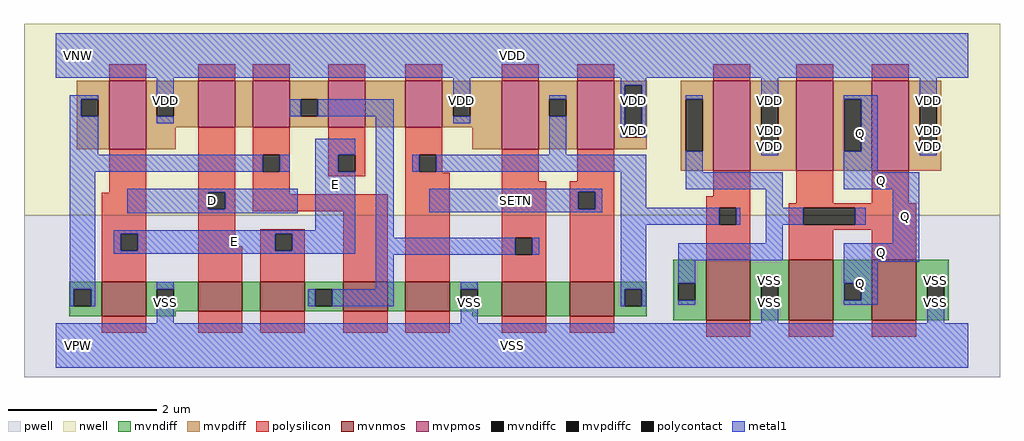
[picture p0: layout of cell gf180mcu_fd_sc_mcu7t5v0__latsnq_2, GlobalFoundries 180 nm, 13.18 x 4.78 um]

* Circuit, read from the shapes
.subckt gf180mcu_fd_sc_mcu7t5v0__latsnq_2 D E SETN Q VDD VNW VPW VSS
XM1 VSS E n1 VPW nfet_06v0 w=0.465u l=0.6u
XM2 n2 D VSS VPW nfet_06v0 w=0.395u l=0.6u
XM3 n3 E n2 VPW nfet_06v0 w=0.395u l=0.6u
XM4 n4 n1 n3 VPW nfet_06v0 w=0.395u l=0.6u
XM5 VSS n5 n4 VPW nfet_06v0 w=0.395u l=0.6u
XM6 n6 n3 VSS VPW nfet_06v0 w=0.465u l=0.6u
XM7 n5 SETN n6 VPW nfet_06v0 w=0.465u l=0.6u
XM8 VSS n5 n7 VPW nfet_06v0 w=0.82u l=0.6u
XM9 Q n7 VSS VPW nfet_06v0 w=0.82u l=0.6u m=2
XM10 VDD E n1 VNW pfet_06v0 w=0.925u l=0.5u
XM11 n8 D VDD VNW pfet_06v0 w=0.63u l=0.5u
XM12 n3 n1 n8 VNW pfet_06v0 w=0.63u l=0.5u
XM13 n9 E n3 VNW pfet_06v0 w=0.63u l=0.5u
XM14 VDD n5 n9 VNW pfet_06v0 w=0.63u l=0.5u
XM15 n5 n3 VDD VNW pfet_06v0 w=0.925u l=0.5u
XM16 VDD SETN n5 VNW pfet_06v0 w=0.925u l=0.5u
XM17 VDD n5 n7 VNW pfet_06v0 w=1.22u l=0.5u
XM18 Q n7 VDD VNW pfet_06v0 w=1.22u l=0.5u m=2
.ends

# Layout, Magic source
magic
tech gf180mcuD
magscale 1 10
<< nwell >>
rect -86 352 2550 870
<< pwell >>
rect -86 -86 2550 352
<< mvnmos >>
rect 124 79 244 172
rect 384 93 504 172
rect 552 93 672 172
rect 776 93 896 172
rect 944 93 1064 172
rect 1204 79 1324 172
rect 1388 79 1508 172
rect 1756 68 1876 232
rect 1980 68 2100 232
rect 2204 68 2324 232
<< mvpmos >>
rect 144 531 244 716
rect 384 590 484 716
rect 532 590 632 716
rect 736 590 836 716
rect 944 590 1044 716
rect 1204 531 1304 716
rect 1408 531 1508 716
rect 1776 472 1876 716
rect 2000 472 2100 716
rect 2204 472 2304 716
<< mvndiff >>
rect 36 152 124 172
rect 36 106 49 152
rect 95 106 124 152
rect 36 79 124 106
rect 244 152 384 172
rect 244 106 273 152
rect 319 106 384 152
rect 244 93 384 106
rect 504 93 552 172
rect 672 152 776 172
rect 672 106 701 152
rect 747 106 776 152
rect 672 93 776 106
rect 896 93 944 172
rect 1064 152 1204 172
rect 1064 106 1093 152
rect 1139 106 1204 152
rect 1064 93 1204 106
rect 244 79 324 93
rect 1124 79 1204 93
rect 1324 79 1388 172
rect 1508 152 1596 172
rect 1508 106 1537 152
rect 1583 106 1596 152
rect 1508 79 1596 106
rect 1668 168 1756 232
rect 1668 122 1681 168
rect 1727 122 1756 168
rect 1668 68 1756 122
rect 1876 168 1980 232
rect 1876 122 1905 168
rect 1951 122 1980 168
rect 1876 68 1980 122
rect 2100 168 2204 232
rect 2100 122 2129 168
rect 2175 122 2204 168
rect 2100 68 2204 122
rect 2324 168 2412 232
rect 2324 122 2353 168
rect 2399 122 2412 168
rect 2324 68 2412 122
<< mvpdiff >>
rect 56 665 144 716
rect 56 619 69 665
rect 115 619 144 665
rect 56 531 144 619
rect 244 665 384 716
rect 244 619 273 665
rect 319 619 384 665
rect 244 590 384 619
rect 484 590 532 716
rect 632 665 736 716
rect 632 619 661 665
rect 707 619 736 665
rect 632 590 736 619
rect 836 590 944 716
rect 1044 665 1204 716
rect 1044 619 1073 665
rect 1119 619 1204 665
rect 1044 590 1204 619
rect 244 531 324 590
rect 1124 531 1204 590
rect 1304 665 1408 716
rect 1304 619 1333 665
rect 1379 619 1408 665
rect 1304 531 1408 619
rect 1508 703 1596 716
rect 1508 563 1537 703
rect 1583 563 1596 703
rect 1508 531 1596 563
rect 1688 665 1776 716
rect 1688 525 1701 665
rect 1747 525 1776 665
rect 1688 472 1776 525
rect 1876 665 2000 716
rect 1876 525 1905 665
rect 1951 525 2000 665
rect 1876 472 2000 525
rect 2100 665 2204 716
rect 2100 525 2129 665
rect 2175 525 2204 665
rect 2100 472 2204 525
rect 2304 665 2392 716
rect 2304 525 2333 665
rect 2379 525 2392 665
rect 2304 472 2392 525
<< mvndiffc >>
rect 49 106 95 152
rect 273 106 319 152
rect 701 106 747 152
rect 1093 106 1139 152
rect 1537 106 1583 152
rect 1681 122 1727 168
rect 1905 122 1951 168
rect 2129 122 2175 168
rect 2353 122 2399 168
<< mvpdiffc >>
rect 69 619 115 665
rect 273 619 319 665
rect 661 619 707 665
rect 1073 619 1119 665
rect 1333 619 1379 665
rect 1537 563 1583 703
rect 1701 525 1747 665
rect 1905 525 1951 665
rect 2129 525 2175 665
rect 2333 525 2379 665
<< polysilicon >>
rect 144 716 244 760
rect 384 716 484 760
rect 532 716 632 760
rect 736 716 836 760
rect 944 716 1044 760
rect 1204 716 1304 760
rect 1408 716 1508 760
rect 1776 716 1876 760
rect 2000 716 2100 760
rect 2204 716 2304 760
rect 144 413 244 531
rect 124 302 244 413
rect 124 256 175 302
rect 221 256 244 302
rect 124 172 244 256
rect 384 414 484 590
rect 384 368 411 414
rect 457 368 484 414
rect 384 268 484 368
rect 532 516 632 590
rect 532 470 559 516
rect 605 470 632 516
rect 532 409 632 470
rect 736 516 836 590
rect 736 470 763 516
rect 809 470 836 516
rect 736 457 836 470
rect 944 516 1044 590
rect 944 470 981 516
rect 1027 470 1044 516
rect 944 467 1044 470
rect 532 363 896 409
rect 552 302 672 315
rect 384 172 504 268
rect 552 256 593 302
rect 639 256 672 302
rect 552 172 672 256
rect 776 172 896 363
rect 944 172 1064 467
rect 1204 444 1304 531
rect 1408 444 1508 531
rect 1204 291 1324 444
rect 1204 245 1241 291
rect 1287 245 1324 291
rect 1204 172 1324 245
rect 1388 415 1508 444
rect 1388 369 1411 415
rect 1457 369 1508 415
rect 1776 404 1876 472
rect 1388 172 1508 369
rect 1756 372 1876 404
rect 2000 385 2100 472
rect 2204 385 2304 472
rect 1756 326 1792 372
rect 1838 326 1876 372
rect 1756 232 1876 326
rect 1980 372 2324 385
rect 1980 326 2019 372
rect 2159 326 2324 372
rect 1980 313 2324 326
rect 1980 232 2100 313
rect 2204 232 2324 313
rect 124 35 244 79
rect 384 35 504 93
rect 552 35 672 93
rect 776 35 896 93
rect 944 35 1064 93
rect 1204 35 1324 79
rect 1388 35 1508 79
rect 1756 24 1876 68
rect 1980 24 2100 68
rect 2204 24 2324 68
<< polycontact >>
rect 175 256 221 302
rect 411 368 457 414
rect 559 470 605 516
rect 763 470 809 516
rect 981 470 1027 516
rect 593 256 639 302
rect 1241 245 1287 291
rect 1411 369 1457 415
rect 1792 326 1838 372
rect 2019 326 2159 372
<< metal1 >>
rect 0 724 2464 844
rect 38 665 115 676
rect 38 619 69 665
rect 38 516 115 619
rect 273 665 319 724
rect 1073 665 1119 724
rect 1526 703 1594 724
rect 632 619 661 665
rect 707 619 912 665
rect 273 600 319 619
rect 700 516 809 559
rect 38 470 559 516
rect 605 470 632 516
rect 700 470 763 516
rect 38 152 106 470
rect 193 414 654 424
rect 193 368 411 414
rect 457 368 654 414
rect 193 358 654 368
rect 700 312 809 470
rect 156 302 809 312
rect 156 256 175 302
rect 221 256 593 302
rect 639 256 809 302
rect 156 248 809 256
rect 864 291 912 619
rect 1073 600 1119 619
rect 1333 665 1379 676
rect 1333 516 1379 619
rect 1526 563 1537 703
rect 1583 563 1594 703
rect 1701 665 1747 676
rect 962 470 981 516
rect 1027 470 1594 516
rect 1008 415 1476 424
rect 1008 369 1411 415
rect 1457 369 1476 415
rect 1008 360 1476 369
rect 1526 372 1594 470
rect 1701 468 1747 525
rect 1905 665 1951 724
rect 1905 514 1951 525
rect 2128 665 2220 676
rect 2128 525 2129 665
rect 2175 525 2220 665
rect 2128 468 2220 525
rect 2333 665 2379 724
rect 2333 514 2379 525
rect 1701 422 1963 468
rect 2128 422 2332 468
rect 1917 372 1963 422
rect 1526 326 1792 372
rect 1838 326 1849 372
rect 1917 326 2019 372
rect 2159 326 2187 372
rect 864 245 1241 291
rect 1287 245 1306 291
rect 38 106 49 152
rect 95 106 106 152
rect 273 152 319 172
rect 864 152 912 245
rect 682 106 701 152
rect 747 106 912 152
rect 1093 152 1139 172
rect 1526 152 1594 326
rect 1917 276 1963 326
rect 2260 276 2332 422
rect 1526 106 1537 152
rect 1583 106 1594 152
rect 1681 230 1963 276
rect 1681 168 1727 230
rect 2128 226 2332 276
rect 1681 111 1727 122
rect 1905 168 1951 179
rect 273 60 319 106
rect 1093 60 1139 106
rect 1905 60 1951 122
rect 2128 168 2220 226
rect 2128 122 2129 168
rect 2175 122 2220 168
rect 2128 111 2220 122
rect 2353 168 2399 179
rect 2353 60 2399 122
rect 0 -60 2464 60
<< labels >>
flabel metal1 s 2128 468 2220 676 0 FreeSans 400 0 0 0 Q
port 4 nsew default output
flabel metal1 s 2353 172 2399 179 0 FreeSans 400 0 0 0 VSS
port 8 nsew ground bidirectional abutment
flabel metal1 s 1008 360 1476 424 0 FreeSans 400 0 0 0 SETN
port 3 nsew default input
flabel metal1 s 0 724 2464 844 0 FreeSans 400 0 0 0 VDD
port 5 nsew power bidirectional abutment
flabel metal1 s 193 358 654 424 0 FreeSans 400 0 0 0 D
port 1 nsew default input
flabel metal1 s 700 312 809 559 0 FreeSans 400 0 0 0 E
port 2 nsew clock input
flabel nwell s 10 734 110 834 0 FreeSans 400 0 0 0 VNW
port 6 nsew power bidirectional
flabel pwell s 10 -50 110 50 0 FreeSans 400 0 0 0 VPW
port 7 nsew ground bidirectional
rlabel metal1 s 156 248 809 312 1 E
port 2 nsew clock input
rlabel metal1 s 2128 422 2332 468 1 Q
port 4 nsew default output
rlabel metal1 s 2260 276 2332 422 1 Q
port 4 nsew default output
rlabel metal1 s 2128 226 2332 276 1 Q
port 4 nsew default output
rlabel metal1 s 2128 111 2220 226 1 Q
port 4 nsew default output
rlabel metal1 s 2333 600 2379 724 1 VDD
port 5 nsew power bidirectional abutment
rlabel metal1 s 1905 600 1951 724 1 VDD
port 5 nsew power bidirectional abutment
rlabel metal1 s 1526 600 1594 724 1 VDD
port 5 nsew power bidirectional abutment
rlabel metal1 s 1073 600 1119 724 1 VDD
port 5 nsew power bidirectional abutment
rlabel metal1 s 273 600 319 724 1 VDD
port 5 nsew power bidirectional abutment
rlabel metal1 s 2333 563 2379 600 1 VDD
port 5 nsew power bidirectional abutment
rlabel metal1 s 1905 563 1951 600 1 VDD
port 5 nsew power bidirectional abutment
rlabel metal1 s 1526 563 1594 600 1 VDD
port 5 nsew power bidirectional abutment
rlabel metal1 s 2333 514 2379 563 1 VDD
port 5 nsew power bidirectional abutment
rlabel metal1 s 1905 514 1951 563 1 VDD
port 5 nsew power bidirectional abutment
rlabel metal1 s 1905 172 1951 179 1 VSS
port 8 nsew ground bidirectional abutment
rlabel metal1 s 2353 60 2399 172 1 VSS
port 8 nsew ground bidirectional abutment
rlabel metal1 s 1905 60 1951 172 1 VSS
port 8 nsew ground bidirectional abutment
rlabel metal1 s 1093 60 1139 172 1 VSS
port 8 nsew ground bidirectional abutment
rlabel metal1 s 273 60 319 172 1 VSS
port 8 nsew ground bidirectional abutment
rlabel metal1 s 0 -60 2464 60 1 VSS
port 8 nsew ground bidirectional abutment
<< properties >>
string FIXED_BBOX 0 0 2464 784
string GDS_END 652680
string GDS_FILE $PDKPATH/libs.ref/gf180mcu_fd_sc_mcu7t5v0/gds/gf180mcu_fd_sc_mcu7t5v0.gds
string GDS_START 646694
string LEFclass core
string LEFsite GF018hv5v_mcu_sc7
string LEFsymmetry X Y
<< end >>
